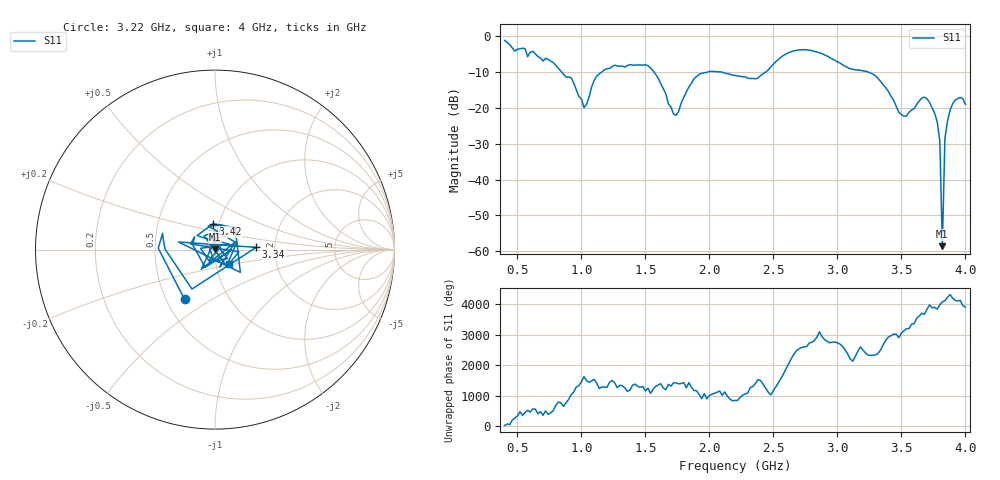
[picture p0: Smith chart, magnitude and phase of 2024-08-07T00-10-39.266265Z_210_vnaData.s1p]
!Created with skrf (http://scikit-rf.org).
# Hz S RI R 50.0
!freq ReS11 ImS11
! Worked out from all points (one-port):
!   181 points, 400 MHz to 4 GHz, reference 50 ohm
!   lowest |S11| = -58.6 dB at 3.82 GHz (marker M1), VSWR 1.00, Z = 49.9 + j0.101 ohm
!   |S11| at or under -10 dB: 1.567 GHz to 1.989 GHz (422 MHz wide, 23.7 % of centre); 2.091 GHz to 2.441 GHz (350 MHz wide, 15.4 % of centre); 3.24 GHz to end of sweep (the widest 3 of 4)
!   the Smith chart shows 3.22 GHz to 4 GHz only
!   S11 on the Smith chart (normalised r, x): 3.22 GHz: 0.62, -0.38; 3.34 GHz: 1.60, +0.04; 3.42 GHz: 0.94, +0.28; 4 GHz: 1.15, -0.19
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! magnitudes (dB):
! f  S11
! 400 MHz  -1.2
! 860 MHz  -10.6
! 920 MHz  -11.6
! 1.02 GHz  -19.9
! 1.12 GHz  -11.1
! 1.3 GHz  -8.4
! 1.52 GHz  -8.2
! 1.6 GHz  -11.8
! 1.72 GHz  -21.7
! 1.76 GHz  -20.9
! 1.92 GHz  -10.7
! 2.2 GHz  -11.0
! 2.38 GHz  -11.7
! 2.66 GHz  -4.1
! 3.1 GHz  -9.1
! 3.22 GHz  -9.8
! 3.34 GHz  -12.8
! 3.42 GHz  -16.8
! 3.48 GHz  -21.2
! 3.56 GHz  -21.2
! 3.68 GHz  -17.0
! 3.78 GHz  -23.9
! 3.8 GHz  -29.3
! 3.82 GHz  -58.6
! 3.84 GHz  -28.6
! 3.86 GHz  -23.7
! 3.92 GHz  -17.9
! 4 GHz  -19.0
